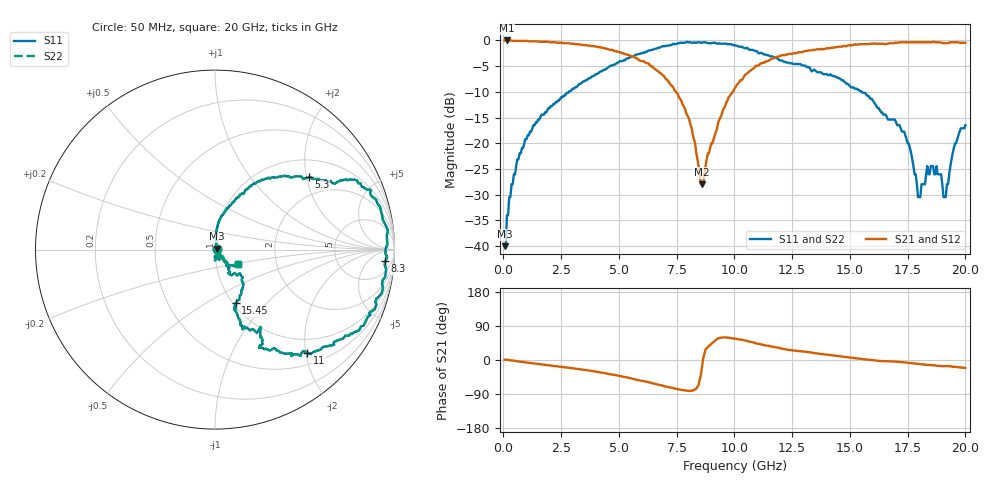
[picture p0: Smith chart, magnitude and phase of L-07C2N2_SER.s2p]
#	mhz	s	ma	r	50
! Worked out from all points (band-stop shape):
!   400 points, 50 MHz to 20 GHz, reference 50 ohm
!   highest |S21| = 0.00 dB at 150 MHz (marker M1); lowest = -28.0 dB at 8.6 GHz (marker M2)
!   |S21| within 3 dB of the highest: start of sweep to 5.51 GHz; 11.99 GHz to end of sweep
!   lowest |S11| = -40.0 dB at 50 MHz (marker M3), VSWR 1.02, Z = 50.8 + j0.552 ohm
!   |S11| at or under -10 dB: start of sweep to 2.831 GHz; 15.52 GHz to end of sweep
!   |S22| runs from -40.0 to -0.3 dB; largest |S21 - S12| = 0
!   S11 on the Smith chart (normalised r, x): 50 MHz: 1.02, +0.01; 5.3 GHz: 1.45, +2.07; 8.3 GHz: 14, -19; 11 GHz: 0.72, -2.03; 15.45 GHz: 1.03, -0.68; 20 GHz: 1.27, -0.20
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50  0.01 32.9  1 1.0  1 1.0  0.01 32.9
100  0.01 53.0  1 0.8  1 0.8  0.01 53.0
150  0.02 73.1  1 0.6  1 0.6  0.02 73.1
950  0.11 85.3  0.99 -6.2  0.99 -6.2  0.11 85.3
3400  0.39 61.6  0.91 -25.3  0.91 -25.3  0.39 61.6
5300  0.66 37.6  0.73 -45.3  0.73 -45.3  0.66 37.6
6700  0.85 27.4  0.5 -65.2  0.5 -65.2  0.85 27.4
7700  0.95 13.2  0.26 -79.0  0.26 -79.0  0.95 13.2
8300  0.95 -3.9  0.1 -77.4  0.1 -77.4  0.95 -3.9
8600  0.95 -11.6  0.04 -16.5  0.04 -16.5  0.95 -11.6
10050  0.89 -31.8  0.35 56.4  0.35 56.4  0.89 -31.8
11000  0.77 -48.2  0.57 43.2  0.57 43.2  0.77 -48.2
13350  0.5 -59.5  0.8 19.5  0.8 19.5  0.5 -59.5
15450  0.32 -68.9  0.92 3.4  0.92 3.4  0.32 -68.9
16700  0.17 -52.5  0.94 -3.6  0.94 -3.6  0.17 -52.5
17550  0.1 -46.8  0.96 -7.5  0.96 -7.5  0.1 -46.8
17950  0.03 -68.7  0.96 -10.1  0.96 -10.1  0.03 -68.7
18350  0.06 -90.3  0.96 -12.9  0.96 -12.9  0.06 -90.3
18750  0.06 -59.7  0.96 -15.1  0.96 -15.1  0.06 -59.7
19150  0.03 -32.6  0.94 -16.2  0.94 -16.2  0.03 -32.6
19550  0.1 -51.7  0.96 -17.9  0.96 -17.9  0.1 -51.7
20000  0.15 -31.6  0.95 -20.9  0.95 -20.9  0.15 -31.6
